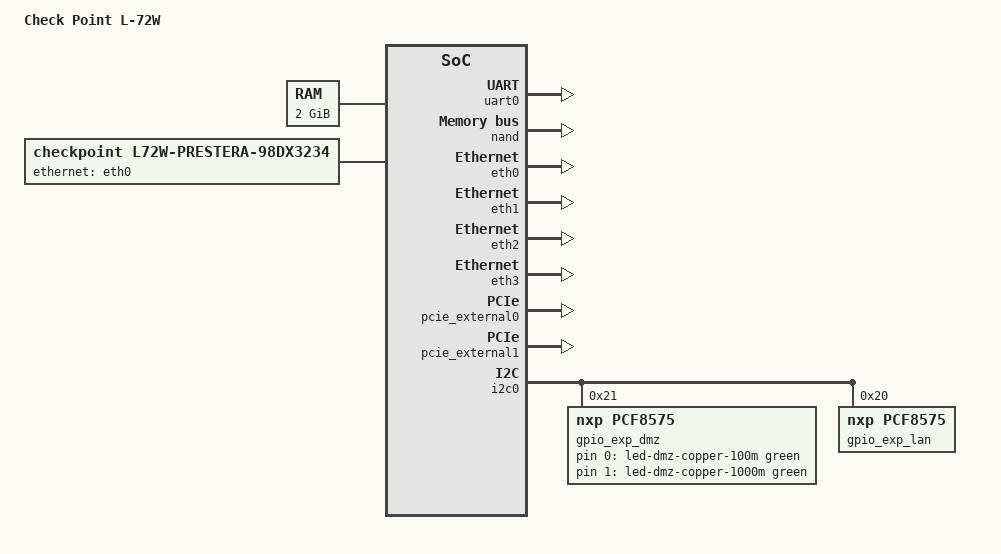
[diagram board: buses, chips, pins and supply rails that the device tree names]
// SPDX-License-Identifier: GPL-2.0-or-later OR MIT
//
// Check Point L-72W (1470/1490 WiFi SMB appliance).
// SoC: Annapurna Labs Alpine AL31400, board-cfg id "alpine_db (S2-L72)".
//
// Written from a real boot-time device tree pulled off the appliance's
// own flash (Check Point's proprietary legacy DT schema, kernel 3.10)
// translated into the mainline al_eth binding used by the closed/
// unmerged openwrt/openwrt PR #23189 (MikroTik RB1100AHx4, same AL31400
// SoC family).
//
// Confirmed working on real hardware: all 4 internal Ethernet MACs,
// both WiFi radios (via external PCIe root ports), the AL crypto/DMA
// offload engines, the DMZ-copper port speed LEDs, NAND sysupgrade,
// and booting from NAND via the stock bootloader.
//
// Port map (19 physical Ethernet ports, fed by only 4 internal MACs):
// 16 LAN ports behind an unidentified switch ASIC (eth0/eth2, SGMII
// 2.5G), 1 WAN port and 2 DMZ ports (copper + SFP) as standalone MACs
// (eth1 has a real external PHY; eth3 is fixed-link). eth1 = DMZ
// copper is the only port with a confirmed netdev-to-physical-port
// mapping so far.
//
// Not present on this unit: PoE (present on some other L-series
// SKUs, gated by a `hardware_capabilities` U-Boot env bitmask), any
// relay/button/beeper. USB (Renesas xHCI on pcie_external2) trains
// and enumerates but crashes the kernel on first BAR0 access; not
// wired up here, see reference_bored_list.md.

/dts-v1/;

#include "alpine.dtsi"

/ {
	model = "Check Point L-72W";
	compatible = "checkpoint,l72w", "annapurna-labs,alpine";

	chosen {
		stdout-path = "serial0:115200n8";
	};

	memory {
		device_type = "memory";
		/* 2GiB per the legacy DT / boot log ("DRAM: 2 GiB") */
		reg = <0x0 0x0 0x0 0x80000000>;
	};
};

&uart0 {
	status = "okay";
};

&nand {
	status = "okay";
	/* Real partition table, from the legacy DT's own nand-flash node
	 * (matches /proc/mtd on the live device exactly). Kept as raw MTD
	 * partitions here rather than assuming UBI boundaries — ubifs/
	 * ubifs-2/storage are UBI volumes ON TOP of these, not something
	 * to declare as fixed-partitions sub-layout without re-checking.
	 */
	partitions {
		compatible = "fixed-partitions";
		#address-cells = <1>;
		#size-cells = <1>;

		partition@0 {
			label = "al_boot";
			reg = <0x0 0x300000>;
		};
		partition@200000 {
			label = "device_tree";
			reg = <0x200000 0x100000>;
		};
		partition@380000 {
			label = "linux_kernel";
			reg = <0x380000 0x1000000>;
		};
		partition@1380000 {
			label = "ubifs";
			reg = <0x1380000 0xdc00000>;
		};
		partition@ef80000 {
			label = "linux_kernel2";
			reg = <0xef80000 0x1000000>;
		};
		partition@ff80000 {
			label = "ubifs-2";
			reg = <0xff80000 0xdc00000>;
		};
		partition@1db80000 {
			label = "default-sw";
			reg = <0x1db80000 0xc400000>;
		};
		partition@29f80000 {
			label = "logs";
			reg = <0x29f80000 0x40000000>;
		};
		partition@69f80000 {
			label = "preset";
			reg = <0x69f80000 0x100000>;
		};
		partition@6a080000 {
			label = "adsl";
			reg = <0x6a080000 0x100000>;
		};
		partition@6a180000 {
			label = "storage";
			reg = <0x6a180000 0x15e80000>;
		};
	};
};

/* port0: SGMII-2.5G. Real MAC (00:1c:7f:73:8e:6c) comes from
 * bootloader-programmed scratch registers, read by al_eth.c before
 * these al,* properties are ever consulted -- media-type is kept for
 * correctness but serdes-grp/lane are unverified/likely irrelevant.
 */
&eth0 {
	status = "okay";
	/* EXPERIMENT 2026-09-22: was <6> SGMII_2_5G, which was an assumption,
	 * never verified. With al,an-disable the MAC is *forced* to that rate,
	 * so if the switch's CPU-facing ports run plain 1G SGMII nothing
	 * crosses even though both ends report link -- and every switch
	 * register would still compare clean against stock, which is exactly
	 * what we observe. Vendor firmware reports speed=1000 on this port.
	 */
	al,media-type = <3>; /* AL_ETH_BOARD_MEDIA_TYPE_SGMII (1G) */
	al,serdes-grp = <0>;
	al,serdes-lane = <0>;
	al,an-disable;
	al,dont-override-serdes;
	al,no-link-management;	/* fixed SERDES link to the switch fabric */
};

/* legacy port1: RGMII with a real external PHY at MDIO addr 1.
 * Also carries the switch-ASIC SMI bus (shared mdio_bus, addr 31).
 * Override the dtsi default (1 MHz) to the only other enum value
 * (2.5 MHz, AL_ETH_BOARD_MDIO_FREQ_2_5_MHZ) to test whether the
 * switch chip's CtrlMgmt/page-select command sequence is being
 * actively rejected due to clock speed.
 */
&eth1 {
	status = "okay";
	al,mdio-freq = <0>;
	/* MUST be stated explicitly. The base .dtsi leaves media-type at
	 * <6> (SGMII_2_5G) for this node, and now that al,media-type has
	 * real override authority that stale default gets applied -- which
	 * silently reconfigured this RGMII port as SGMII on 2026-09-22.
	 * The PHY still reported "Link is Up - 1Gbps/Full" while the MAC
	 * datapath was dead, so wget failed with EPERM and the port looked
	 * healthy. The bootloader scratch register reports <1> here, which
	 * is correct: this is the RGMII port with the external 88E1514.
	 */
	al,media-type = <1>; /* AL_ETH_BOARD_MEDIA_TYPE_RGMII */
};

/* port2: SGMII-2.5G, same scratch-register MAC mechanism as eth0. */
&eth2 {
	status = "okay";
	al,media-type = <3>; /* see eth0: 1G SGMII, was <6> on assumption */
	al,serdes-grp = <0>;
	al,serdes-lane = <1>;
	al,an-disable;
	al,dont-override-serdes;
	al,no-link-management;	/* fixed SERDES link to the switch fabric */
};

/* 4th real MAC (al_eth3 in U-Boot's own naming) -- RGMII, fixed-link
 * 1000M/full, no external PHY. Check Point's own firmware never
 * programs a factory MAC for this interface (al_eth.c doesn't read a
 * devicetree "mac-address" property at all, only a hardware register
 * U-Boot pre-programs), so it comes up with a random MAC -- assign
 * one via UCI `option macaddr` if a stable address is needed.
 */
&eth3 {
	status = "okay";
};

/* External PCIe root ports (Root-Complex mode) -- see alpine.dtsi.
 * Both links train and both radios' kernel drivers bind cleanly:
 * 168c:0033 (AR9580) via ath9k, 168c:003c (QCA988x) via ath10k +
 * community qca988x board data (no OEM calibration available).
 */
&pcie_external0 {
	status = "okay";
};

&pcie_external1 {
	status = "okay";
};

/* i2c-pld controller at 0xfd880000, carrying 4 GPIO expanders. Only
 * the 2 populated with real, wired lines are declared here (a 3rd,
 * tca9555 @ 0x22, is fully unclaimed; a 4th, tca9555 @ 0x24, has 3
 * unlabeled always-input lines of unknown purpose).
 */
&i2c0 {
	status = "okay";

	gpio_exp_dmz: gpio@21 {
		compatible = "nxp,pcf8575";
		reg = <0x21>;
		gpio-controller;
		#gpio-cells = <2>;
		gpio-line-names =
			"DMZ_COPPER_100M_LED", "DMZ_COPPER_1000M_LED",
			"DMZ_FIBER_100M_LED", "DMZ_FIBER_1000M_LED",
			"S2_WAN_100M_LED", "", "", "",
			"", "", "", "", "", "", "", "";
	};

	gpio_exp_lan: gpio@20 {
		compatible = "nxp,pcf8575";
		reg = <0x20>;
		gpio-controller;
		#gpio-cells = <2>;
		gpio-line-names =
			"P0_100M_LED", "P1_100M_LED", "P2_100M_LED", "P3_100M_LED",
			"P4_100M_LED", "P5_100M_LED", "P6_100M_LED", "P7_100M_LED",
			"P8_100M_LED", "P9_100M_LED", "P10_100M_LED", "P11_100M_LED",
			"P12_100M_LED", "P13_100M_LED", "P14_100M_LED", "P15_100M_LED";
	};
};

/* Only the DMZ-copper port (eth1) has a confirmed netdev-to-LED
 * mapping so far, so it's the only pair wired here. The DT's own
 * `linux,default-trigger = "netdev"` pre-selects the trigger type but
 * doesn't bind a device (this kernel's ledtrig-netdev only auto-binds
 * via a hw_control_get_device() callback a plain leds-gpio LED
 * doesn't have) -- the actual device binding happens in
 * base-files/etc/board.d/01_leds via ucidef_set_led_netdev.
 *
 * Check Point's own driver lights exactly one of the 100M/1000M lines
 * at a time based on negotiated speed; Linux's netdev trigger doesn't
 * discriminate by speed, so both light together on any link here.
 *
 * DMZ_FIBER_*, S2_WAN_100M_LED, and all 16 P*_100M_LED lines are real
 * and controllable but have no entry yet -- those ports aren't
 * identified to a specific MAC (DMZ-SFP/WAN) or have no driver at all
 * yet (the 16 LAN ports, behind an unidentified switch ASIC).
 */
/ {
	leds {
		compatible = "gpio-leds";

		led-dmz-copper-100m {
			function = LED_FUNCTION_SPEED_LAN;
			function-enumerator = <100>;
			color = <LED_COLOR_ID_GREEN>;
			gpios = <&gpio_exp_dmz 0 GPIO_ACTIVE_HIGH>;
			linux,default-trigger = "netdev";
		};

		led-dmz-copper-1000m {
			function = LED_FUNCTION_SPEED_LAN;
			function-enumerator = <1000>;
			color = <LED_COLOR_ID_GREEN>;
			gpios = <&gpio_exp_dmz 1 GPIO_ACTIVE_HIGH>;
			linux,default-trigger = "netdev";
		};
	};
};

/*
 * The 16 LAN ports, behind the Marvell Prestera 98DX3234 fabric. The fabric
 * is reached through an SMI tunnel over the MDIO bus that al_eth brings up
 * for eth0, at PHY address 31; see docs/98dx3234-l72w-specs.md section 3.
 *
 * This is deliberately not an mdio child node: al_eth creates that bus
 * programmatically and it carries no of_node, so nothing in the devicetree
 * can hang off it. The driver finds the bus by probing address 31 for the
 * Marvell OUI and defers until it answers.
 */
/ {
	prestera: switch {
		compatible = "checkpoint,l72w-prestera-98dx3234";
		status = "okay";

		/*
		 * <tree index>. The index is not free to choose: the fabric
		 * stamps its own device number into every DSA tag, and the
		 * in-tree tagger resolves the ingress port with
		 * dsa_conduit_find_user(dev, source_device, source_port).
		 * Measured ingress tags read `d0 00 20 01`, so
		 * source_device = 0xd0 & 0x1f = 16. With any other index the
		 * lookup fails and every frame is dropped after being counted
		 * on the conduit. It matches the egress side too: tag_dsa
		 * builds byte 0 as (FROM_CPU << 6) | index, and 0x50 is the
		 * value this fabric accepts (spec 10.2).
		 */
		dsa,member = <0 16>;

		ports {
			#address-cells = <1>;
			#size-cells = <0>;

			port@0 {
				reg = <0>;
				label = "lan1";
			};
			port@1 {
				reg = <1>;
				label = "lan2";
			};
			port@2 {
				reg = <2>;
				label = "lan3";
			};
			port@3 {
				reg = <3>;
				label = "lan4";
			};
			port@4 {
				reg = <4>;
				label = "lan5";
			};
			port@5 {
				reg = <5>;
				label = "lan6";
			};
			port@6 {
				reg = <6>;
				label = "lan7";
			};
			port@7 {
				reg = <7>;
				label = "lan8";
			};
			port@8 {
				reg = <8>;
				label = "lan9";
			};
			port@9 {
				reg = <9>;
				label = "lan10";
			};
			port@10 {
				reg = <10>;
				label = "lan11";
			};
			port@11 {
				reg = <11>;
				label = "lan12";
			};
			port@12 {
				reg = <12>;
				label = "lan13";
			};
			port@13 {
				reg = <13>;
				label = "lan14";
			};
			port@14 {
				reg = <14>;
				label = "lan15";
			};
			port@15 {
				reg = <15>;
				label = "lan16";
			};
			/*
			 * CPU port. eth0 is one of the two SoC MACs wired to
			 * the fabric; it must run 1G SGMII with link
			 * management off, which is what the al,* properties
			 * on &eth0 above arrange. No PHY exists on this
			 * link, so the speed is fixed here rather than
			 * negotiated.
			 */
			port@24 {
				reg = <24>;
				ethernet = <&eth0>;
				phy-mode = "sgmii";

				fixed-link {
					speed = <1000>;
					full-duplex;
				};
			};
		};
	};
};
